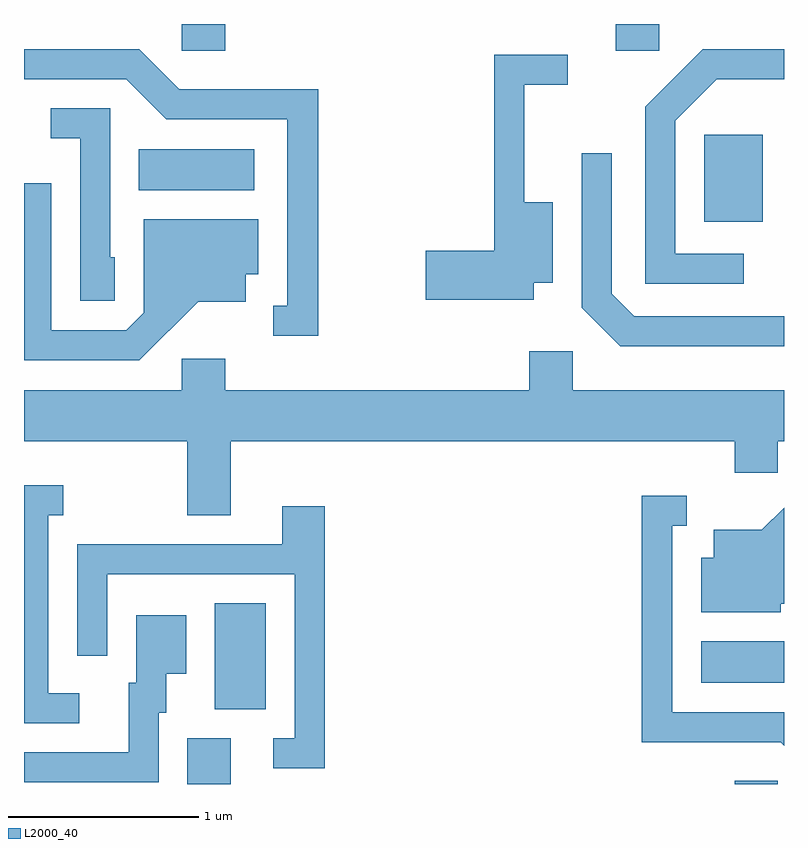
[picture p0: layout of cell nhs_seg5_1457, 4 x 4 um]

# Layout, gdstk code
import gdstk
lib = gdstk.Library(unit=1e-6, precision=1e-09)
def R(c, l, rs):  # rectangles x0, y0, x1, y1
    for r in rs: c.add(gdstk.rectangle(r[:2], r[2:], *l))
def P(c, l, *ps):  # polygons
    for p in ps: c.add(gdstk.Polygon(p, *l))
L2000_40 = (2000, 40)

nhs_seg5_1457 = lib.new_cell('nhs_seg5_1457')
R(nhs_seg5_1457, L2000_40, [(228.471,1486.072,228.699,1486.314), (231.351,1486.072,231.579,1486.089), (228.616,1486.466,228.884,1487.024), (231.176,1486.606,231.611,1486.824), (231.191,1489.031,231.499,1489.489), (228.216,1489.196,228.824,1489.414), (228.441,1489.931,228.669,1490.072), (230.726,1489.931,230.954,1490.072)])
P(nhs_seg5_1457, L2000_40, [(229.159,1489.729),(228.427,1489.729),(228.217,1489.939),(227.611,1489.939),(227.611,1489.781),(228.149,1489.781),(228.359,1489.571),(228.996,1489.571),(228.996,1488.589),(228.923,1488.589),(228.923,1488.431),(229.159,1488.431)],
  [(231.398,1488.864),(231.039,1488.864),(231.039,1489.564),(231.257,1489.781),(231.611,1489.781),(231.611,1489.939),(231.184,1489.939),(230.881,1489.637),(230.881,1488.706),(231.398,1488.706)],
  [(230.294,1488.711),(230.394,1488.711),(230.394,1489.134),(230.244,1489.134),(230.244,1489.751),(230.473,1489.751),(230.473,1489.909),(230.086,1489.909),(230.086,1488.879),(229.726,1488.879),(229.726,1488.621),(230.294,1488.621)],
  [(228.089,1488.844),(228.064,1488.844),(228.064,1489.629),(227.753,1489.629),(227.753,1489.471),(227.906,1489.471),(227.906,1488.616),(228.089,1488.616)],
  [(231.611,1488.534),(230.822,1488.534),(230.704,1488.652),(230.704,1489.393),(230.546,1489.393),(230.546,1488.579),(230.749,1488.376),(231.611,1488.376)],
  [(228.527,1488.611),(228.779,1488.611),(228.779,1488.756),(228.844,1488.756),(228.844,1489.044),(228.241,1489.044),(228.241,1488.552),(228.149,1488.459),(227.754,1488.459),(227.754,1489.233),(227.611,1489.233),(227.611,1488.301),(228.217,1488.301)],
  [(230.271,1488.349),(230.271,1488.144),(228.669,1488.144),(228.669,1488.309),(228.441,1488.309),(228.441,1488.144),(227.611,1488.144),(227.611,1487.876),(228.471,1487.876),(228.471,1487.486),(228.699,1487.486),(228.699,1487.876),(231.351,1487.876),(231.351,1487.711),(231.579,1487.711),(231.579,1487.876),(231.611,1487.876),(231.611,1488.144),(230.499,1488.144),(230.499,1488.349)],
  [(227.903,1486.549),(227.739,1486.549),(227.739,1487.486),(227.818,1487.486),(227.818,1487.644),(227.611,1487.644),(227.611,1486.391),(227.903,1486.391)],
  [(231.611,1486.449),(231.024,1486.449),(231.024,1487.431),(231.098,1487.431),(231.098,1487.589),(230.861,1487.589),(230.861,1486.291),(231.594,1486.291),(231.611,1486.274)],
  [(229.194,1487.534),(228.971,1487.534),(228.971,1487.334),(227.891,1487.334),(227.891,1486.748),(228.049,1486.748),(228.049,1487.176),(229.036,1487.176),(229.036,1486.314),(228.923,1486.314),(228.923,1486.156),(229.194,1486.156)],
  [(231.594,1487.021),(231.611,1487.021),(231.611,1487.526),(231.494,1487.409),(231.241,1487.409),(231.241,1487.264),(231.176,1487.264),(231.176,1486.976),(231.594,1486.976)],
  [(228.319,1486.446),(228.359,1486.446),(228.359,1486.651),(228.464,1486.651),(228.464,1486.959),(228.201,1486.959),(228.201,1486.604),(228.161,1486.604),(228.161,1486.239),(227.611,1486.239),(227.611,1486.081),(228.319,1486.081)])

lib.write_gds('nhs_seg5_1457.gds')
